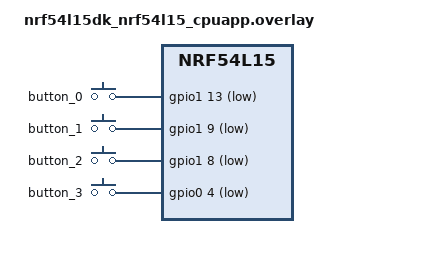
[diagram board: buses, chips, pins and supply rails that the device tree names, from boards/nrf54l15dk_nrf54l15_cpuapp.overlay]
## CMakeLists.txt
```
#
# Copyright (c) 2021 Nordic Semiconductor
#
# SPDX-License-Identifier: LicenseRef-Nordic-5-Clause
#
cmake_minimum_required(VERSION 3.20.0)

find_package(Zephyr REQUIRED HINTS $ENV{ZEPHYR_BASE})

set(CMAKE_EXPORT_COMPILE_COMMANDS ON)

project(NONE)

# NORDIC SDK APP START
target_sources(app PRIVATE
  src/main.c
  src/events.c
  src/input.c
  src/hid.c
  src/ble.c
  src/pairing.c
  src/keyboard.c
  src/idle.c
  src/battery.c
)

target_include_directories(app PRIVATE src)

target_compile_options(app PRIVATE -Wall -Wextra -Werror)

# NORDIC SDK APP END
```

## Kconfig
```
# Copyright (c) 2021 Nordic Semiconductor ASA
# SPDX-License-Identifier: Apache-2.0
#
# This file is the application Kconfig entry point. All application Kconfig
# options can be defined here or included via other application Kconfig files.
# You can browse these options using the west targets menuconfig (terminal) or
# guiconfig (GUI).
menu "Zephyr"
source "Kconfig.zephyr"
endmenu

module = APP
module-str = APP
source "subsys/logging/Kconfig.template.log_config"

menu "Nordic BLE HIDS Keyboard sample"

config APP_IDLE_TIMEOUT_MIN
	int "Idle timeout before system off (minutes)"
	default 30
	range 1 1440
	help
	  How long without any user activity before the keyboard enters
	  System OFF. Wake-up sources are configured by the active input
	  backend (e.g. button GPIOs for gpio-keys).

config APP_HOST_SLOTS
	int "Number of host slots"
	default 3
	range 1 8
	help
	  The keyboard maintains a separate Bluetooth identity (and bond)
	  per slot, allowing it to pair with multiple hosts and switch the
	  active output between them. When changing this, also update
	  CONFIG_BT_MAX_CONN, CONFIG_BT_MAX_PAIRED, CONFIG_BT_ID_MAX, and
	  CONFIG_BT_HIDS_MAX_CLIENT_COUNT in prj.conf to match.

config SETTINGS
	default y

config ZMS
	default y if (SOC_FLASH_NRF_RRAM || SOC_FLASH_NRF_MRAM)

config NVS
	default y if !(SOC_FLASH_NRF_RRAM || SOC_FLASH_NRF_MRAM)

endmenu
```

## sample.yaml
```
sample:
  name: teclat-fw
  description: BLE HIDS keyboard firmware
common:
  tags: bluetooth hid
  sysbuild: true
  integration_platforms:
    - nrf54l15dk/nrf54l15/cpuapp
    - nrf54lm20dk/nrf54lm20a/cpuapp
tests:
  app.keyboard: {}
```

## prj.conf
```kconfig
#
# Copyright (c) 2021 Nordic Semiconductor
#
# SPDX-License-Identifier: LicenseRef-Nordic-5-Clause
#

# Dependencies for APP_EVENT_MANAGER and CAF
CONFIG_HEAP_MEM_POOL_SIZE=2048

# Enable logging
CONFIG_LOG=y
CONFIG_UART_CONSOLE=n
CONFIG_RTT_CONSOLE=y
CONFIG_USE_SEGGER_RTT=y
# Increase number of internal logging buffers

CONFIG_ZBUS=y


CONFIG_GPIO=y
CONFIG_INPUT=y
CONFIG_POWEROFF=y


#
# Copyright (c) 2019-2025 Nordic Semiconductor ASA
#
# SPDX-License-Identifier: LicenseRef-Nordic-5-Clause
#
CONFIG_NCS_SAMPLES_DEFAULTS=y

CONFIG_BT=y
CONFIG_BT_MAX_CONN=3
CONFIG_BT_MAX_PAIRED=3
CONFIG_BT_ID_MAX=3
CONFIG_BT_SMP=y
CONFIG_BT_ATT_TX_COUNT=5
CONFIG_BT_PERIPHERAL=y
CONFIG_BT_DEVICE_NAME="Nordic_HIDS_keyboard"
CONFIG_BT_DEVICE_APPEARANCE=961

# Disable automatic initiation of PHY updates and the SMP Security Requests.
# Workaround to prevent disconnection with the following disconnect reasons:
# - 0x08 (BT_HCI_ERR_CONN_TIMEOUT)
# - 0x13 (BT_HCI_ERR_REMOTE_USER_TERM_CONN)
# - 0x23 (BT_HCI_ERR_LL_PROC_COLLISION)
# - 0x2A (BT_HCI_ERR_DIFF_TRANS_COLLISION)
# Some laptop Bluetooth controllers may simultaneously trigger two Link Layer
# procedures which results in a procedure collision and disconnection.
CONFIG_BT_GATT_AUTO_SEC_REQ=n
CONFIG_BT_AUTO_PHY_UPDATE=n

CONFIG_BT_BAS=y
CONFIG_BT_HIDS=y
CONFIG_BT_HIDS_MAX_CLIENT_COUNT=3
CONFIG_BT_HIDS_DEFAULT_PERM_RW_ENCRYPT=y
CONFIG_BT_GATT_UUID16_POOL_SIZE=40
CONFIG_BT_GATT_CHRC_POOL_SIZE=20

CONFIG_BT_CONN_CTX=y

CONFIG_BT_DIS=y
CONFIG_BT_DIS_MANUF_NAME=y
CONFIG_BT_DIS_MANUF_NAME_STR="NordicSemiconductor"
CONFIG_BT_DIS_PNP=y
CONFIG_BT_DIS_PNP_VID_SRC=2
CONFIG_BT_DIS_PNP_VID=0x1915
CONFIG_BT_DIS_PNP_PID=0xEEEF
CONFIG_BT_DIS_PNP_VER=0x0100

CONFIG_MAIN_STACK_SIZE=2048
CONFIG_SYSTEM_WORKQUEUE_STACK_SIZE=2048

CONFIG_BT_SETTINGS=y
CONFIG_FLASH=y
CONFIG_FLASH_PAGE_LAYOUT=y
CONFIG_FLASH_MAP=y

CONFIG_DK_LIBRARY=y
```

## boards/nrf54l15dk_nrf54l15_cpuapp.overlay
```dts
#include <zephyr/dt-bindings/input/input-event-codes.h>

/ {
       buttons: buttons {
               compatible = "gpio-keys";
               button_0 {
                       gpios = <&gpio1 13 (GPIO_PULL_UP | GPIO_ACTIVE_LOW)>;
                       zephyr,code = <INPUT_KEY_0>;
               };
               button_1 {
                       gpios = <&gpio1 9 (GPIO_PULL_UP | GPIO_ACTIVE_LOW)>;
                       zephyr,code = <INPUT_KEY_1>;
               };
               button_2 {
                       gpios = <&gpio1 8 (GPIO_PULL_UP | GPIO_ACTIVE_LOW)>;
                       zephyr,code = <INPUT_KEY_2>;
               };
               button_3 {
                       gpios = <&gpio0 4 (GPIO_PULL_UP | GPIO_ACTIVE_LOW)>;
                       zephyr,code = <INPUT_KEY_3>;
               };
       };
};
```

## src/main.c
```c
/*
 * Copyright (c) 2018 Nordic Semiconductor ASA
 *
 * SPDX-License-Identifier: LicenseRef-Nordic-5-Clause
 */

#include <zephyr/kernel.h>
#include <zephyr/logging/log.h>

#include <zephyr/settings/settings.h>

#include <zephyr/bluetooth/bluetooth.h>

#include <dk_buttons_and_leds.h>

#include "battery.h"
#include "ble.h"
#include "hid.h"
#include "idle.h"
#include "pairing.h"

LOG_MODULE_REGISTER(app, CONFIG_LOG_DEFAULT_LEVEL);

static void configure_leds(void)
{
	int err = dk_leds_init();

	if (err) {
		LOG_ERR("Cannot init LEDs (err %d)", err);
	}
}

int main(void)
{
	int err;

	LOG_INF("Starting Bluetooth Peripheral HIDS keyboard sample");

	configure_leds();

	if (pair_init() != 0) {
		return 0;
	}

	hid_init();

	err = bt_enable(NULL);
	if (err) {
		LOG_ERR("Bluetooth init failed (err %d)", err);
		return 0;
	}

	LOG_INF("Bluetooth initialized");

	if (IS_ENABLED(CONFIG_SETTINGS)) {
		settings_load();
	}

	if (ble_init() != 0) {
		return 0;
	}

	ble_advertising_start();
	idle_init();
	bat_init();

	return 0;
}
```

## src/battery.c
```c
/*
 * SPDX-License-Identifier: LicenseRef-Nordic-5-Clause
 */

#include <zephyr/kernel.h>
#include <zephyr/bluetooth/services/bas.h>

#include "battery.h"

#define BATTERY_NOTIFY_INTERVAL_MS 1000

static void bat_notify(struct k_work *work);
static K_WORK_DELAYABLE_DEFINE(bat_work, bat_notify);

static void bat_notify(struct k_work *work)
{
	ARG_UNUSED(work);

	uint8_t level = bt_bas_get_battery_level();

	level--;
	if (!level) {
		level = 100U;
	}
	bt_bas_set_battery_level(level);

	(void)k_work_reschedule(&bat_work, K_MSEC(BATTERY_NOTIFY_INTERVAL_MS));
}

void bat_init(void)
{
	(void)k_work_reschedule(&bat_work, K_MSEC(BATTERY_NOTIFY_INTERVAL_MS));
}
```

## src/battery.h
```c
/*
 * SPDX-License-Identifier: LicenseRef-Nordic-5-Clause
 */

#ifndef BATTERY_H_
#define BATTERY_H_

/* Start the periodic battery-level update.
 * Placeholder: cycles the BAS level for now. Replace with a real ADC
 * source once the battery measurement hardware is wired.
 */
void bat_init(void);

#endif /* BATTERY_H_ */
```

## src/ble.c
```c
/*
 * SPDX-License-Identifier: LicenseRef-Nordic-5-Clause
 */

#include <stddef.h>
#include <string.h>

#include <zephyr/sys/atomic.h>
#include <zephyr/kernel.h>
#include <zephyr/logging/log.h>
#include <zephyr/zbus/zbus.h>
#include <zephyr/settings/settings.h>

#include <zephyr/bluetooth/bluetooth.h>
#include <zephyr/bluetooth/conn.h>
#include <zephyr/bluetooth/hci.h>
#include <zephyr/bluetooth/uuid.h>

#include <dk_buttons_and_leds.h>

#include "ble.h"
#include "events.h"
#include "hid.h"

LOG_MODULE_REGISTER(ble, CONFIG_LOG_DEFAULT_LEVEL);

#define DEVICE_NAME     CONFIG_BT_DEVICE_NAME
#define DEVICE_NAME_LEN (sizeof(DEVICE_NAME) - 1)

#define ADV_STATUS_LED      DK_LED1
#define CON_STATUS_LED      DK_LED2
#define ADV_LED_INTERVAL_MS 1000

#define ADV_NONE (-1)

static atomic_t ble_active_host_id = ATOMIC_INIT(0);
static int ble_advertising_id = ADV_NONE;

static int ble_adv_led_state;

static void ble_adv_led_blink(struct k_timer *timer)
{
	ARG_UNUSED(timer);
	ble_adv_led_state ^= 1;
	dk_set_led(ADV_STATUS_LED, ble_adv_led_state);
}

static K_TIMER_DEFINE(ble_adv_led_timer, ble_adv_led_blink, NULL);

static void ble_adv_led_start(void)
{
	ble_adv_led_state = 0;
	k_timer_start(&ble_adv_led_timer, K_MSEC(ADV_LED_INTERVAL_MS),
		      K_MSEC(ADV_LED_INTERVAL_MS));
}

static void ble_adv_led_stop(void)
{
	k_timer_stop(&ble_adv_led_timer);
	dk_set_led_off(ADV_STATUS_LED);
}

static const struct bt_data ble_ad[] = {
	BT_DATA_BYTES(BT_DATA_GAP_APPEARANCE, (CONFIG_BT_DEVICE_APPEARANCE >> 0) & 0xff,
		      (CONFIG_BT_DEVICE_APPEARANCE >> 8) & 0xff),
	BT_DATA_BYTES(BT_DATA_FLAGS, (BT_LE_AD_GENERAL | BT_LE_AD_NO_BREDR)),
	BT_DATA_BYTES(BT_DATA_UUID16_ALL, BT_UUID_16_ENCODE(BT_UUID_HIDS_VAL),
		      BT_UUID_16_ENCODE(BT_UUID_BAS_VAL)),
};

static const struct bt_data ble_sd[] = {
	BT_DATA(BT_DATA_NAME_COMPLETE, DEVICE_NAME, DEVICE_NAME_LEN),
};

uint8_t ble_get_active_host(void)
{
	return (uint8_t)atomic_get(&ble_active_host_id);
}

struct ble_slot_check {
	uint8_t slot;
	bool found;
};

static void ble_slot_check_cb(struct bt_conn *conn, void *data)
{
	struct ble_slot_check *sc = data;
	struct bt_conn_info info;

	if (bt_conn_get_info(conn, &info) == 0 && info.id == sc->slot) {
		sc->found = true;
	}
}

static bool ble_slot_has_conn(uint8_t slot)
{
	struct ble_slot_check sc = { .slot = slot, .found = false };

	bt_conn_foreach(BT_CONN_TYPE_LE, ble_slot_check_cb, &sc);
	return sc.found;
}

static void ble_adv_stop(void)
{
	int err;

	if (ble_advertising_id == ADV_NONE) {
		return;
	}
	err = bt_le_adv_stop();
	if (err && err != -EALREADY) {
		LOG_ERR("Advertising stop failed (err %d)", err);
	}
	ble_advertising_id = ADV_NONE;
	ble_adv_led_stop();
}

static int ble_adv_start_for(uint8_t id)
{
	struct bt_le_adv_param adv_param = *BT_LE_ADV_PARAM(
		BT_LE_ADV_OPT_CONN, BT_GAP_ADV_FAST_INT_MIN_2, BT_GAP_ADV_FAST_INT_MAX_2, NULL);
	int err;

	if (ble_advertising_id != ADV_NONE && ble_advertising_id != id) {
		ble_adv_stop();
	}

	adv_param.id = id;
	err = bt_le_adv_start(&adv_param, ble_ad, ARRAY_SIZE(ble_ad), ble_sd, ARRAY_SIZE(ble_sd));
	if (err && err != -EALREADY) {
		LOG_ERR("Advertising failed to start (id=%u err=%d)", id, err);
		return err;
	}

	ble_advertising_id = id;
	ble_adv_led_start();
	if (err != -EALREADY) {
		LOG_INF("Advertising started for slot %u", id);
	}
	return 0;
}

void ble_advertising_start(void)
{
	(void)ble_adv_start_for(ble_get_active_host());
}

static int ble_active_host_settings_set(const char *key, size_t len, settings_read_cb read_cb,
					void *cb_arg)
{
	if (settings_name_steq(key, "active", NULL)) {
		uint8_t v;
		ssize_t n;

		if (len != sizeof(v)) {
			return -EINVAL;
		}
		n = read_cb(cb_arg, &v, sizeof(v));
		if (n != sizeof(v)) {
			return n < 0 ? n : -EIO;
		}
		if (v < CONFIG_APP_HOST_SLOTS) {
			atomic_set(&ble_active_host_id, v);
		}
	}
	return 0;
}

SETTINGS_STATIC_HANDLER_DEFINE(host, "host", NULL, ble_active_host_settings_set, NULL, NULL);

static void ble_persist_active_host(uint8_t slot)
{
	int err = settings_save_one("host/active", &slot, sizeof(slot));

	if (err) {
		LOG_ERR("Active-host save failed (err %d)", err);
	}
}

int ble_init(void)
{
	bt_addr_le_t addrs[CONFIG_BT_ID_MAX];
	size_t count = ARRAY_SIZE(addrs);

	bt_id_get(addrs, &count);

	for (size_t i = count; i < CONFIG_APP_HOST_SLOTS; i++) {
		int id = bt_id_create(NULL, NULL);

		if (id < 0) {
			LOG_ERR("bt_id_create failed (err %d)", id);
			return id;
		}
		LOG_INF("Created identity %d", id);
	}

	LOG_INF("Active host slot: %u", ble_get_active_host());
	return 0;
}

static void ble_select_host(uint8_t slot)
{
	if (slot >= CONFIG_APP_HOST_SLOTS) {
		LOG_WRN("HOST_SELECT: invalid slot %u", slot);
		return;
	}
	if (slot == ble_get_active_host() &&
	    (ble_slot_has_conn(slot) || ble_advertising_id == slot)) {
		return;
	}

	atomic_set(&ble_active_host_id, slot);
	ble_persist_active_host(slot);

	if (ble_slot_has_conn(slot)) {
		ble_adv_stop();
	} else {
		(void)ble_adv_start_for(slot);
	}
}

struct ble_disconnect_ctx {
	uint8_t slot;
};

static void ble_disconnect_slot_cb(struct bt_conn *conn, void *data)
{
	const struct ble_disconnect_ctx *ctx = data;
	struct bt_conn_info info;

	if (bt_conn_get_info(conn, &info) != 0 || info.id != ctx->slot) {
		return;
	}
	(void)bt_conn_disconnect(conn, BT_HCI_ERR_REMOTE_USER_TERM_CONN);
}

static void ble_clear_active_bonds(void)
{
	uint8_t slot = ble_get_active_host();
	struct ble_disconnect_ctx ctx = { .slot = slot };
	int err;

	bt_conn_foreach(BT_CONN_TYPE_LE, ble_disconnect_slot_cb, &ctx);

	err = bt_unpair(slot, BT_ADDR_LE_ANY);
	if (err) {
		LOG_ERR("bt_unpair slot=%u err=%d", slot, err);
	} else {
		LOG_INF("Cleared bonds for slot %u", slot);
	}

	(void)ble_adv_start_for(slot);
}

static void ble_connected_cb(struct bt_conn *conn, uint8_t err)
{
	struct bt_conn_info info;
	char addr[BT_ADDR_LE_STR_LEN];

	bt_addr_le_to_str(bt_conn_get_dst(conn), addr, sizeof(addr));

	if (err) {
		LOG_ERR("Failed to connect to %s 0x%02x %s", addr, err, bt_hci_err_to_str(err));
		return;
	}

	if (bt_conn_get_info(conn, &info) != 0) {
		LOG_WRN("Connected (no info) %s", addr);
		return;
	}

	LOG_INF("Connected slot=%u addr=%s", info.id, addr);
	dk_set_led_on(CON_STATUS_LED);

	if (hid_on_connected(conn) != 0) {
		return;
	}

	if (ble_advertising_id == info.id) {
		/* The host stack stopped advertising on connect. */
		ble_advertising_id = ADV_NONE;
		ble_adv_led_stop();
	}
}

static void ble_disconnected_cb(struct bt_conn *conn, uint8_t reason)
{
	struct bt_conn_info info;
	char addr[BT_ADDR_LE_STR_LEN];

	bt_addr_le_to_str(bt_conn_get_dst(conn), addr, sizeof(addr));
	(void)bt_conn_get_info(conn, &info);

	LOG_INF("Disconnected slot=%u addr=%s reason 0x%02x %s", info.id, addr, reason,
		bt_hci_err_to_str(reason));

	(void)hid_on_disconnected(conn);

	if (!hid_has_active_clients()) {
		dk_set_led_off(CON_STATUS_LED);
	}

	if (info.id == ble_get_active_host()) {
		(void)ble_adv_start_for(info.id);
	}
}

static void ble_security_changed_cb(struct bt_conn *conn, bt_security_t level,
				    enum bt_security_err err)
{
	char addr[BT_ADDR_LE_STR_LEN];

	bt_addr_le_to_str(bt_conn_get_dst(conn), addr, sizeof(addr));

	if (!err) {
		LOG_INF("Security changed: %s level %u", addr, level);
	} else {
		LOG_ERR("Security failed: %s level %u err %d %s", addr, level, err,
			bt_security_err_to_str(err));
	}
}

BT_CONN_CB_DEFINE(ble_conn_callbacks) = {
	.connected = ble_connected_cb,
	.disconnected = ble_disconnected_cb,
	.security_changed = ble_security_changed_cb,
};

static void ble_on_intent(const struct zbus_channel *chan)
{
	const struct evt_sys_intent *intent = zbus_chan_const_msg(chan);

	switch (intent->kind) {
	case EVT_SYS_INTENT_HOST_SELECT:
		ble_select_host(intent->arg);
		break;
	case EVT_SYS_INTENT_CLEAR_BONDS:
		ble_clear_active_bonds();
		break;
	default:
		break;
	}
}

ZBUS_LISTENER_DEFINE(ble_listener, ble_on_intent);
ZBUS_CHAN_ADD_OBS(chan_sys_intent, ble_listener, 4);
```

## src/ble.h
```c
/*
 * SPDX-License-Identifier: LicenseRef-Nordic-5-Clause
 */

#ifndef BLE_H_
#define BLE_H_

#include <stdbool.h>
#include <stdint.h>

/* Ensure CONFIG_APP_HOST_SLOTS Bluetooth identities exist. Call once,
 * after bt_enable() and settings_load(). Idempotent.
 */
int ble_init(void);

/* Start (or restart) connectable advertising on the active host slot. */
void ble_advertising_start(void);

/* Slot index of the currently active host (0..APP_HOST_SLOTS-1). */
uint8_t ble_get_active_host(void);

#endif /* BLE_H_ */
```

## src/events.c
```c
/*
 * SPDX-License-Identifier: LicenseRef-Nordic-5-Clause
 */

#include <zephyr/zbus/zbus.h>

#include "events.h"

ZBUS_CHAN_DEFINE(chan_key,
		 struct evt_key,
		 NULL,
		 NULL,
		 ZBUS_OBSERVERS_EMPTY,
		 ZBUS_MSG_INIT(0));

ZBUS_CHAN_DEFINE(chan_activity,
		 struct evt_activity,
		 NULL,
		 NULL,
		 ZBUS_OBSERVERS_EMPTY,
		 ZBUS_MSG_INIT(0));

ZBUS_CHAN_DEFINE(chan_sys_intent,
		 struct evt_sys_intent,
		 NULL,
		 NULL,
		 ZBUS_OBSERVERS_EMPTY,
		 ZBUS_MSG_INIT(0));

ZBUS_CHAN_DEFINE(chan_hid_report,
		 struct evt_hid_report,
		 NULL,
		 NULL,
		 ZBUS_OBSERVERS_EMPTY,
		 ZBUS_MSG_INIT(0));
```

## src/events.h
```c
/*
 * SPDX-License-Identifier: LicenseRef-Nordic-5-Clause
 */

#ifndef EVENTS_H_
#define EVENTS_H_

#include <stdint.h>
#include <stdbool.h>

#include <zephyr/zbus/zbus.h>

/* Raw key event from the input source. One published per press, one per
 * release. Producers are input drivers behind the input_source DT chosen.
 */
struct evt_key {
	uint16_t code;
	bool pressed;
};

/* Marker that the user did something. The idle/pm module subscribes to
 * reset its inactivity timer.
 */
struct evt_activity {
	uint8_t source;
};

/* Semantic intents emitted by the keyboard policy layer. Subscribers act:
 *   - pairing.c handles ACCEPT/REJECT
 *   - ble.c handles HOST_SELECT/CLEAR_BONDS
 */
enum evt_sys_intent_kind {
	EVT_SYS_INTENT_HOST_SELECT,
	EVT_SYS_INTENT_PAIRING_ACCEPT,
	EVT_SYS_INTENT_PAIRING_REJECT,
	EVT_SYS_INTENT_CLEAR_BONDS,
};

struct evt_sys_intent {
	enum evt_sys_intent_kind kind;
	uint8_t arg; /* HOST_SELECT: slot index; otherwise unused */
};

/* HID keyboard report snapshot. Published by keyboard.c whenever the
 * report state changes. hid.c subscribes and pushes to active clients.
 */
#define EVT_HID_KEYCODES 6
struct evt_hid_report {
	uint8_t modifiers;
	uint8_t keycodes[EVT_HID_KEYCODES];
};

ZBUS_CHAN_DECLARE(chan_key);
ZBUS_CHAN_DECLARE(chan_activity);
ZBUS_CHAN_DECLARE(chan_sys_intent);
ZBUS_CHAN_DECLARE(chan_hid_report);

#endif /* EVENTS_H_ */
```

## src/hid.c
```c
/*
 * SPDX-License-Identifier: LicenseRef-Nordic-5-Clause
 */

#include <zephyr/types.h>
#include <stddef.h>
#include <string.h>
#include <assert.h>

#include <zephyr/kernel.h>
#include <zephyr/logging/log.h>
#include <zephyr/zbus/zbus.h>

#include <zephyr/bluetooth/bluetooth.h>
#include <zephyr/bluetooth/conn.h>
#include <zephyr/bluetooth/uuid.h>
#include <zephyr/bluetooth/gatt.h>

#include <bluetooth/services/hids.h>
#include <dk_buttons_and_leds.h>

#include "ble.h"
#include "events.h"
#include "hid.h"

LOG_MODULE_REGISTER(hid, CONFIG_LOG_DEFAULT_LEVEL);

#define BASE_USB_HID_SPEC_VERSION 0x0101

#define OUTPUT_REPORT_MAX_LEN            1
#define OUTPUT_REPORT_BIT_MASK_CAPS_LOCK 0x02
#define INPUT_REP_KEYS_REF_ID            0
#define OUTPUT_REP_KEYS_REF_ID           0

/* ********************* */
/* Buttons configuration */

/* Note: The configuration below is the same as BOOT mode configuration
 * This simplifies the code as the BOOT mode is the same as REPORT mode.
 * Changing this configuration would require separate implementation of
 * BOOT mode report generation.
 */
#define KEY_CTRL_CODE_MIN 224 /* Control key codes - required 8 of them */
#define KEY_CTRL_CODE_MAX 231 /* Control key codes - required 8 of them */
#define KEY_CODE_MIN      0   /* Normal key codes */
#define KEY_CODE_MAX      101 /* Normal key codes */
#define KEY_PRESS_MAX                                                                              \
	6 /* Maximum number of non-control keys                                                    \
	   * pressed simultaneously                                                                \
	   */

/* Number of bytes in key report
 *
 * 1B - control keys
 * 1B - reserved
 * rest - non-control keys
 */
#define INPUT_REPORT_KEYS_MAX_LEN (1 + 1 + KEY_PRESS_MAX)

/* Current report map construction requires exactly 8 buttons */
BUILD_ASSERT((KEY_CTRL_CODE_MAX - KEY_CTRL_CODE_MIN) + 1 == 8);

#define LED_CAPS_LOCK DK_LED3

/* OUT report internal indexes.
 *
 * This is a position in internal report table and is not related to
 * report ID.
 */
enum {
	OUTPUT_REP_KEYS_IDX = 0
};

/* INPUT report internal indexes.
 *
 * This is a position in internal report table and is not related to
 * report ID.
 */
enum {
	INPUT_REP_KEYS_IDX = 0
};

/* HIDS instance. */
BT_HIDS_DEF(hid_obj, OUTPUT_REPORT_MAX_LEN, INPUT_REPORT_KEYS_MAX_LEN);

static struct hid_client_state {
	struct bt_conn *conn;
	bool in_boot_mode;
	uint8_t identity_id;
} hid_clients[CONFIG_BT_HIDS_MAX_CLIENT_COUNT];

static void hid_caps_lock_handler(const struct bt_hids_rep *rep)
{
	uint8_t report_val = ((*rep->data) & OUTPUT_REPORT_BIT_MASK_CAPS_LOCK) ? 1 : 0;
	dk_set_led(LED_CAPS_LOCK, report_val);
}

static void hid_outp_rep_handler(struct bt_hids_rep *rep, struct bt_conn *conn, bool write)
{
	char addr[BT_ADDR_LE_STR_LEN];

	if (!write) {
		LOG_DBG("Output report read");
		return;
	};

	bt_addr_le_to_str(bt_conn_get_dst(conn), addr, sizeof(addr));
	LOG_DBG("Output report received from %s", addr);
	hid_caps_lock_handler(rep);
}

static void hid_boot_kb_outp_rep_handler(struct bt_hids_rep *rep, struct bt_conn *conn, bool write)
{
	char addr[BT_ADDR_LE_STR_LEN];

	if (!write) {
		LOG_DBG("Boot keyboard output report read");
		return;
	};

	bt_addr_le_to_str(bt_conn_get_dst(conn), addr, sizeof(addr));
	LOG_DBG("Boot keyboard output report received from %s", addr);
	hid_caps_lock_handler(rep);
}

static void hid_pm_evt_handler(enum bt_hids_pm_evt evt, struct bt_conn *conn)
{
	char addr[BT_ADDR_LE_STR_LEN];
	size_t i;

	for (i = 0; i < CONFIG_BT_HIDS_MAX_CLIENT_COUNT; i++) {
		if (hid_clients[i].conn == conn) {
			break;
		}
	}

	if (i >= CONFIG_BT_HIDS_MAX_CLIENT_COUNT) {
		LOG_ERR("Cannot find connection handle when processing PM");
		return;
	}

	bt_addr_le_to_str(bt_conn_get_dst(conn), addr, sizeof(addr));

	switch (evt) {
	case BT_HIDS_PM_EVT_BOOT_MODE_ENTERED:
		LOG_INF("Boot mode entered %s", addr);
		hid_clients[i].in_boot_mode = true;
		break;

	case BT_HIDS_PM_EVT_REPORT_MODE_ENTERED:
		LOG_INF("Report mode entered %s", addr);
		hid_clients[i].in_boot_mode = false;
		break;

	default:
		break;
	}
}

void hid_init(void)
{
	int err;
	struct bt_hids_init_param init_obj = {0};
	struct bt_hids_inp_rep *inp_rep;
	struct bt_hids_outp_feat_rep *outp_rep;

	static const uint8_t report_map[] = {
		0x05, 0x01, /* Usage Page (Generic Desktop) */
		0x09, 0x06, /* Usage (Keyboard) */
		0xA1, 0x01, /* Collection (Application) */

	/* Keys */
#if INPUT_REP_KEYS_REF_ID
		0x85, INPUT_REP_KEYS_REF_ID,
#endif
		0x05, 0x07, /* Usage Page (Key Codes) */
		0x19, 0xe0, /* Usage Minimum (224) */
		0x29, 0xe7, /* Usage Maximum (231) */
		0x15, 0x00, /* Logical Minimum (0) */
		0x25, 0x01, /* Logical Maximum (1) */
		0x75, 0x01, /* Report Size (1) */
		0x95, 0x08, /* Report Count (8) */
		0x81, 0x02, /* Input (Data, Variable, Absolute) */

		0x95, 0x01, /* Report Count (1) */
		0x75, 0x08, /* Report Size (8) */
		0x81, 0x01, /* Input (Constant) reserved byte(1) */

		0x95, 0x06, /* Report Count (6) */
		0x75, 0x08, /* Report Size (8) */
		0x15, 0x00, /* Logical Minimum (0) */
		0x25, 0x65, /* Logical Maximum (101) */
		0x05, 0x07, /* Usage Page (Key codes) */
		0x19, 0x00, /* Usage Minimum (0) */
		0x29, 0x65, /* Usage Maximum (101) */
		0x81, 0x00, /* Input (Data, Array) Key array(6 bytes) */

	/* LED */
#if OUTPUT_REP_KEYS_REF_ID
		0x85, OUTPUT_REP_KEYS_REF_ID,
#endif
		0x95, 0x05, /* Report Count (5) */
		0x75, 0x01, /* Report Size (1) */
		0x05, 0x08, /* Usage Page (Page# for LEDs) */
		0x19, 0x01, /* Usage Minimum (1) */
		0x29, 0x05, /* Usage Maximum (5) */
		0x91, 0x02, /* Output (Data, Variable, Absolute), */
			    /* Led report */
		0x95, 0x01, /* Report Count (1) */
		0x75, 0x03, /* Report Size (3) */
		0x91, 0x01, /* Output (Data, Variable, Absolute), */
			    /* Led report padding */

		0xC0 /* End Collection (Application) */
	};

	init_obj.rep_map.data = report_map;
	init_obj.rep_map.size = sizeof(report_map);

	init_obj.info.bcd_hid = BASE_USB_HID_SPEC_VERSION;
	init_obj.info.b_country_code = 0x00;
	init_obj.info.flags = (BT_HIDS_REMOTE_WAKE | BT_HIDS_NORMALLY_CONNECTABLE);

	inp_rep = &init_obj.inp_rep_group_init.reports[INPUT_REP_KEYS_IDX];
	inp_rep->size = INPUT_REPORT_KEYS_MAX_LEN;
	inp_rep->id = INPUT_REP_KEYS_REF_ID;
	init_obj.inp_rep_group_init.cnt++;

	outp_rep = &init_obj.outp_rep_group_init.reports[OUTPUT_REP_KEYS_IDX];
	outp_rep->size = OUTPUT_REPORT_MAX_LEN;
	outp_rep->id = OUTPUT_REP_KEYS_REF_ID;
	outp_rep->handler = hid_outp_rep_handler;
	init_obj.outp_rep_group_init.cnt++;

	init_obj.is_kb = true;
	init_obj.boot_kb_outp_rep_handler = hid_boot_kb_outp_rep_handler;
	init_obj.pm_evt_handler = hid_pm_evt_handler;

	err = bt_hids_init(&hid_obj, &init_obj);
	__ASSERT(err == 0, "HIDS initialization failed\n");
}

static void hid_on_report(const struct zbus_channel *chan)
{
	const struct evt_hid_report *r = zbus_chan_const_msg(chan);
	uint8_t data[INPUT_REPORT_KEYS_MAX_LEN];
	uint8_t active = ble_get_active_host();

	BUILD_ASSERT(KEY_PRESS_MAX == EVT_HID_KEYCODES);

	data[0] = r->modifiers;
	data[1] = 0;
	memcpy(&data[2], r->keycodes, EVT_HID_KEYCODES);

	for (size_t i = 0; i < CONFIG_BT_HIDS_MAX_CLIENT_COUNT; i++) {
		struct bt_conn *conn = hid_clients[i].conn;
		int err;

		if (!conn || hid_clients[i].identity_id != active) {
			continue;
		}

		if (hid_clients[i].in_boot_mode) {
			err = bt_hids_boot_kb_inp_rep_send(&hid_obj, conn, data, sizeof(data),
							   NULL);
		} else {
			err = bt_hids_inp_rep_send(&hid_obj, conn, INPUT_REP_KEYS_IDX, data,
						   sizeof(data), NULL);
		}
		if (err) {
			LOG_ERR("Key report send error: %d", err);
		}
	}
}

ZBUS_LISTENER_DEFINE(hid_listener, hid_on_report);
ZBUS_CHAN_ADD_OBS(chan_hid_report, hid_listener, 4);

int hid_on_connected(struct bt_conn *conn)
{
	struct bt_conn_info info;
	int err;

	err = bt_hids_connected(&hid_obj, conn);
	if (err) {
		LOG_ERR("Failed to notify HID service about connection (err %d)", err);
		return err;
	}

	(void)bt_conn_get_info(conn, &info);

	for (size_t i = 0; i < CONFIG_BT_HIDS_MAX_CLIENT_COUNT; i++) {
		if (!hid_clients[i].conn) {
			hid_clients[i].conn = conn;
			hid_clients[i].in_boot_mode = false;
			hid_clients[i].identity_id = info.id;
			break;
		}
	}
	return 0;
}

int hid_on_disconnected(struct bt_conn *conn)
{
	int err;

	err = bt_hids_disconnected(&hid_obj, conn);
	if (err) {
		LOG_ERR("Failed to notify HID service about disconnection (err %d)", err);
	}

	for (size_t i = 0; i < CONFIG_BT_HIDS_MAX_CLIENT_COUNT; i++) {
		if (hid_clients[i].conn == conn) {
			hid_clients[i].conn = NULL;
			break;
		}
	}
	return err;
}

bool hid_has_active_clients(void)
{
	for (size_t i = 0; i < CONFIG_BT_HIDS_MAX_CLIENT_COUNT; i++) {
		if (hid_clients[i].conn) {
			return true;
		}
	}
	return false;
}

size_t hid_active_client_count(void)
{
	size_t n = 0;
	for (size_t i = 0; i < CONFIG_BT_HIDS_MAX_CLIENT_COUNT; i++) {
		if (hid_clients[i].conn) {
			n++;
		}
	}
	return n;
}
```

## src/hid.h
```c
/*
 * SPDX-License-Identifier: LicenseRef-Nordic-5-Clause
 */

#ifndef HID_H_
#define HID_H_

#include <stdint.h>
#include <stdbool.h>
#include <stddef.h>

struct bt_conn;

/* Initialize the HID service. Call once before bt_enable(). */
void hid_init(void);

/* Connection lifecycle hooks. ble.c calls these from its conn callbacks. */
int hid_on_connected(struct bt_conn *conn);
int hid_on_disconnected(struct bt_conn *conn);

/* True if any HID client is currently connected. ble.c uses this to decide
 * whether to keep the CON_STATUS_LED on after one client disconnects. */
bool hid_has_active_clients(void);

/* Number of currently-connected HID clients (0..CONFIG_BT_HIDS_MAX_CLIENT_COUNT). */
size_t hid_active_client_count(void);

#endif /* HID_H_ */
```

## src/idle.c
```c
/*
 * SPDX-License-Identifier: LicenseRef-Nordic-5-Clause
 */

#include <zephyr/kernel.h>
#include <zephyr/logging/log.h>
#include <zephyr/sys/poweroff.h>
#include <zephyr/zbus/zbus.h>

#include "events.h"
#include "idle.h"
#include "input.h"

LOG_MODULE_REGISTER(idle, CONFIG_LOG_DEFAULT_LEVEL);

#define IDLE_TIMEOUT K_MINUTES(CONFIG_APP_IDLE_TIMEOUT_MIN)

static void idle_enter_sleep(struct k_work *work);
static K_WORK_DELAYABLE_DEFINE(idle_work, idle_enter_sleep);

static void idle_on_activity(const struct zbus_channel *chan)
{
	ARG_UNUSED(chan);
	(void)k_work_reschedule(&idle_work, IDLE_TIMEOUT);
}

ZBUS_LISTENER_DEFINE(idle_listener, idle_on_activity);
ZBUS_CHAN_ADD_OBS(chan_activity, idle_listener, 4);

static void idle_enter_sleep(struct k_work *work)
{
	ARG_UNUSED(work);
	int err;

	err = inp_prepare_for_sleep();
	if (err) {
		LOG_ERR("Wake-source config failed (err %d), retrying later", err);
		(void)k_work_reschedule(&idle_work, IDLE_TIMEOUT);
		return;
	}

	LOG_INF("Idle %d min, entering system off", CONFIG_APP_IDLE_TIMEOUT_MIN);
	sys_poweroff();
}

void idle_init(void)
{
	(void)k_work_reschedule(&idle_work, IDLE_TIMEOUT);
}
```

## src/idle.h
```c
/*
 * SPDX-License-Identifier: LicenseRef-Nordic-5-Clause
 */

#ifndef IDLE_H_
#define IDLE_H_

/* Arm the inactivity timer. Each chan_activity event resets it; on
 * expiry the device enters System OFF and wakes on a button press.
 */
void idle_init(void);

#endif /* IDLE_H_ */
```

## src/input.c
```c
/*
 * SPDX-License-Identifier: LicenseRef-Nordic-5-Clause
 */

#include <errno.h>
#include <stddef.h>

#include <zephyr/drivers/gpio.h>
#include <zephyr/input/input.h>
#include <zephyr/logging/log.h>
#include <zephyr/zbus/zbus.h>

#include "events.h"
#include "input.h"

LOG_MODULE_REGISTER(inp, CONFIG_LOG_DEFAULT_LEVEL);

/* Input source selected via the `app,input-source` DT chosen. Falls back to
 * the `buttons` node label so existing overlays keep working. To swap the
 * physical input (matrix kscan, ADC threshold driver, encoder, ...), point
 * the chosen at a different node — no app code changes required apart from
 * extending inp_prepare_for_sleep() with the matching wake-source setup.
 */
#if DT_HAS_CHOSEN(app_input_source)
#define INP_SRC_NODE DT_CHOSEN(app_input_source)
#else
#define INP_SRC_NODE DT_NODELABEL(buttons)
#endif

static void inp_on_event(struct input_event *evt, void *user_data)
{
	ARG_UNUSED(user_data);

	if (evt->type != INPUT_EV_KEY) {
		return;
	}

	struct evt_key ke = {
		.code = evt->code,
		.pressed = evt->value != 0,
	};
	(void)zbus_chan_pub(&chan_key, &ke, K_NO_WAIT);

	struct evt_activity ae = { .source = 0 };
	(void)zbus_chan_pub(&chan_activity, &ae, K_NO_WAIT);
}

INPUT_CALLBACK_DEFINE(DEVICE_DT_GET(INP_SRC_NODE), inp_on_event, NULL);

#if DT_NODE_HAS_COMPAT(INP_SRC_NODE, gpio_keys)

#define INP_WAKE_SPEC_INIT(node_id) GPIO_DT_SPEC_GET(node_id, gpios),

static const struct gpio_dt_spec inp_wake_specs[] = {
	DT_FOREACH_CHILD(INP_SRC_NODE, INP_WAKE_SPEC_INIT)
};

int inp_prepare_for_sleep(void)
{
	for (size_t i = 0; i < ARRAY_SIZE(inp_wake_specs); i++) {
		int err = gpio_pin_interrupt_configure_dt(&inp_wake_specs[i],
							  GPIO_INT_LEVEL_ACTIVE);
		if (err) {
			LOG_ERR("wake config pin %u failed (err %d)",
				inp_wake_specs[i].pin, err);
			return err;
		}
	}
	return 0;
}

#else  /* unsupported input backend */

int inp_prepare_for_sleep(void)
{
	LOG_WRN("No wake-source implementation for the configured input backend");
	return -ENOTSUP;
}

#endif
```

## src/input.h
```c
/*
 * SPDX-License-Identifier: LicenseRef-Nordic-5-Clause
 */

#ifndef INPUT_H_
#define INPUT_H_

/* Configure the active input source's GPIOs as wake sources for
 * sys_poweroff(). Returns 0 on success, -ENOTSUP if the configured
 * input backend doesn't have a wake-from-System-OFF implementation,
 * or another negative errno on failure.
 */
int inp_prepare_for_sleep(void);

#endif /* INPUT_H_ */
```
